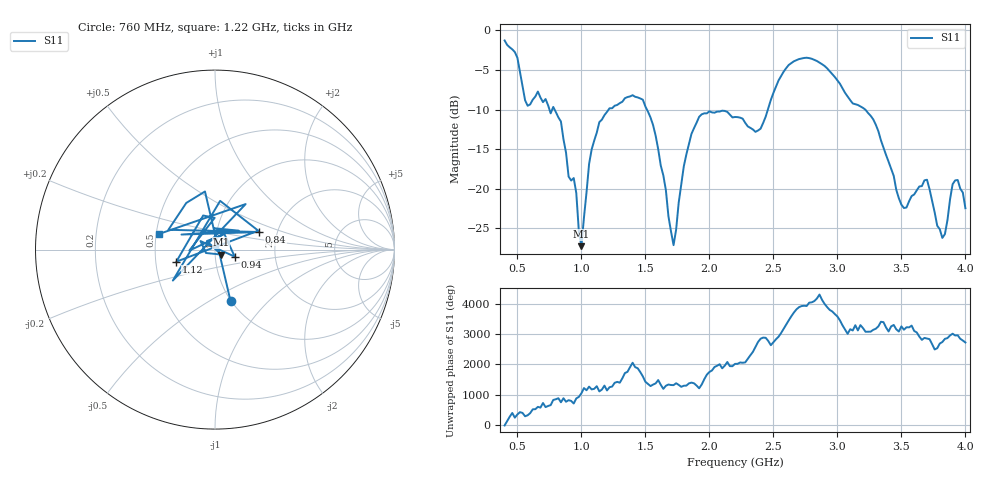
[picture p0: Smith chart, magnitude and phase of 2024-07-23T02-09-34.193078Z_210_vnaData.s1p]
!Created with skrf (http://scikit-rf.org).
# Hz S RI R 50.0
!freq ReS11 ImS11
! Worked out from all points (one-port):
!   181 points, 400 MHz to 4 GHz, reference 50 ohm
!   lowest |S11| = -27.3 dB at 1 GHz (marker M1), VSWR 1.09, Z = 53.4 - j2.94 ohm
!   |S11| at or under -10 dB: 790.4 MHz to 1.213 GHz (422.4 MHz wide, 42.2 % of centre); 1.512 GHz to 2.456 GHz (944.6 MHz wide, 47.6 % of centre); 3.217 GHz to end of sweep (the widest 3 of 4)
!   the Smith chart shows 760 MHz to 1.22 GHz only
!   S11 on the Smith chart (normalised r, x): 760 MHz: 0.99, -0.63; 840 MHz: 1.61, +0.34; 940 MHz: 1.24, -0.10; 1.12 GHz: 0.64, -0.09; 1.22 GHz: 0.52, +0.10
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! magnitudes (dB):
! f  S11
! 400 MHz  -1.3
! 500 MHz  -3.5
! 580 MHz  -9.5
! 760 MHz  -10.5
! 840 MHz  -11.5
! 860 MHz  -13.8
! 900 MHz  -18.5
! 940 MHz  -18.7
! 1 GHz  -27.3
! 1.06 GHz  -16.9
! 1.12 GHz  -12.9
! 1.22 GHz  -9.8
! 1.3 GHz  -9.2
! 1.54 GHz  -11.0
! 1.72 GHz  -27.2
! 1.76 GHz  -21.8
! 1.92 GHz  -10.9
! 2.2 GHz  -10.9
! 2.4 GHz  -12.4
! 2.66 GHz  -3.9
! 3.1 GHz  -8.8
! 3.28 GHz  -11.2
! 3.5 GHz  -22.0
! 3.56 GHz  -21.6
! 3.7 GHz  -18.9
! 3.82 GHz  -26.2
! 3.92 GHz  -19.0
! 4 GHz  -22.5
